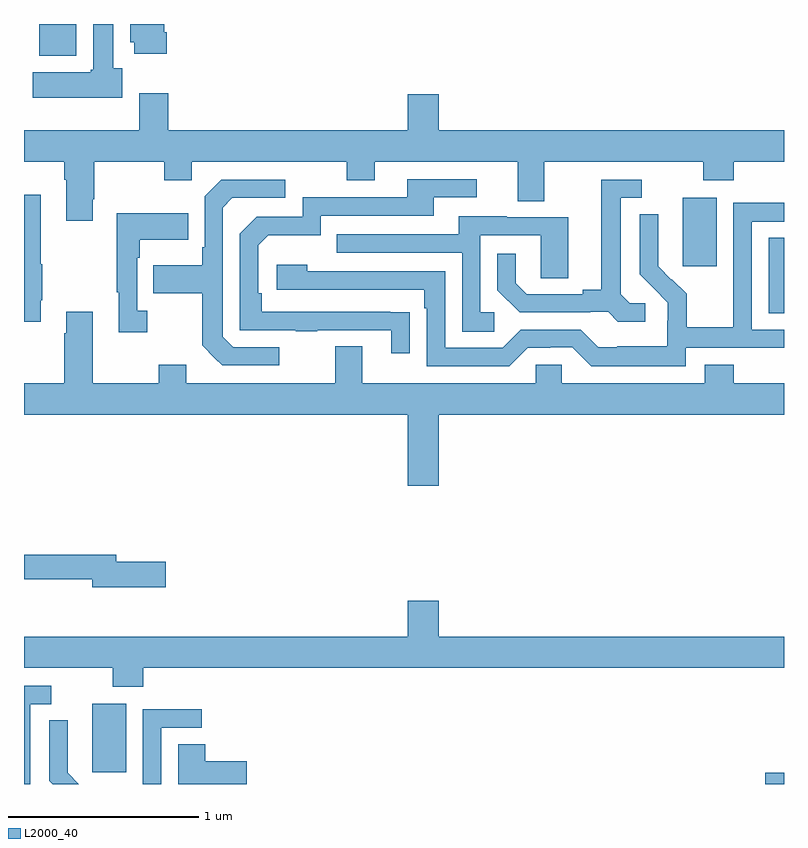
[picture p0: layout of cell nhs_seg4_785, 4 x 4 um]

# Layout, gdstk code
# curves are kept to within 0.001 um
import gdstk
lib = gdstk.Library(unit=1e-6, precision=1e-09)
def R(c, l, rs):  # rectangles x0, y0, x1, y1
    for r in rs: c.add(gdstk.rectangle(r[:2], r[2:], *l))
def P(c, l, *ps):  # polygons
    for p in ps: c.add(gdstk.Polygon(p, *l))
L2000_40 = (2000, 40)

nhs_seg4_785 = lib.new_cell('nhs_seg4_785')
R(nhs_seg4_785, L2000_40, [(154.902,770.9,155,770.96), (151.358,770.961,151.537,771.322), (154.919,773.377,155,773.774), (154.466,773.625,154.645,773.986), (151.079,774.734,151.276,774.9)])
P(nhs_seg4_785, L2000_40, [(151.751,774.856),(151.738,774.856),(151.738,774.9),(151.559,774.9),(151.559,774.804),(151.58,774.804),(151.58,774.744),(151.751,774.744)],
  [(151.516,774.666),(151.471,774.666),(151.471,774.9),(151.364,774.9),(151.364,774.66),(151.351,774.66),(151.351,774.646),(151.047,774.646),(151.047,774.512),(151.516,774.512)],
  [(151.363,773.977),(151.371,773.977),(151.371,774.176),(151.738,774.176),(151.738,774.077),(151.884,774.077),(151.884,774.176),(152.698,774.176),(152.698,774.077),(152.845,774.077),(152.845,774.176),(153.599,774.176),(153.599,773.968),(153.739,773.968),(153.739,774.176),(154.576,774.176),(154.576,774.077),(154.736,774.077),(154.736,774.176),(155,774.176),(155,774.34),(153.184,774.34),(153.184,774.529),(153.02,774.529),(153.02,774.34),(151.76,774.34),(151.76,774.535),(151.607,774.535),(151.607,774.34),(151,774.34),(151,774.176),(151.211,774.176),(151.211,774.08),(151.223,774.08),(151.223,773.865),(151.363,773.865)],
  [(153.029,773.384),(152.252,773.385),(152.252,773.482),(152.232,773.482),(152.232,773.736),(152.285,773.789),(152.562,773.789),(152.562,773.892),(153.157,773.892),(153.157,773.988),(153.382,773.988),(153.382,774.084),(153.017,774.084),(153.017,773.988),(152.466,773.988),(152.466,773.886),(152.226,773.886),(152.136,773.796),(152.136,773.289),(152.431,773.289),(152.431,773.284),(152.543,773.284),(152.543,773.289),(152.933,773.289),(152.933,773.166),(153.029,773.166)],
  [(152.344,773.199),(152.1,773.199),(152.046,773.253),(152.046,773.934),(152.097,773.985),(152.374,773.985),(152.374,774.081),(152.037,774.081),(151.95,773.994),(151.95,773.725),(151.938,773.725),(151.938,773.629),(151.681,773.629),(151.681,773.482),(151.938,773.482),(151.938,773.209),(152.043,773.103),(152.344,773.103)],
  [(154.27,773.43),(154.188,773.43),(154.141,773.477),(154.141,773.985),(154.252,773.985),(154.252,774.081),(154.037,774.081),(154.037,773.501),(153.941,773.501),(153.941,773.478),(153.646,773.478),(153.589,773.535),(153.589,773.692),(153.492,773.692),(153.492,773.498),(153.608,773.382),(153.98,773.382),(153.98,773.385),(154.074,773.385),(154.126,773.333),(154.27,773.333)],
  [(151.087,773.446),(151.095,773.446),(151.095,773.635),(151.087,773.635),(151.087,774.001),(151,774.001),(151,773.334),(151.087,773.334)],
  [(154.482,773.196),(155,773.196),(155,773.292),(154.83,773.292),(154.83,773.859),(155,773.859),(155,773.958),(154.734,773.958),(154.734,773.528),(154.732,773.528),(154.732,773.305),(154.487,773.305),(154.487,773.479),(154.41,773.556),(154.407,773.553),(154.337,773.624),(154.338,773.9),(154.242,773.9),(154.242,773.582),(154.388,773.434),(154.388,773.337),(154.386,773.337),(154.386,773.203),(154.123,773.203),(154.123,773.199),(154.023,773.199),(153.93,773.292),(153.615,773.292),(153.519,773.196),(153.216,773.196),(153.216,773.598),(152.492,773.598),(152.492,773.632),(152.331,773.632),(152.331,773.502),(153.107,773.502),(153.107,773.405),(153.12,773.405),(153.12,773.1),(153.555,773.1),(153.651,773.196),(153.77,773.196),(153.77,773.199),(153.885,773.199),(153.985,773.099),(154.482,773.099)],
  [(151.648,773.39),(151.596,773.39),(151.596,773.669),(151.609,773.669),(151.609,773.765),(151.865,773.765),(151.865,773.905),(151.488,773.905),(151.488,773.489),(151.499,773.489),(151.499,773.277),(151.648,773.277)],
  [(153.475,773.382),(153.402,773.382),(153.402,773.787),(153.72,773.787),(153.72,773.563),(153.865,773.563),(153.865,773.883),(153.541,773.883),(153.541,773.887),(153.287,773.887),(153.287,773.793),(152.647,773.793),(152.647,773.697),(153.306,773.697),(153.306,773.281),(153.475,773.281)],
  [(153.184,772.844),(155,772.844),(155,773.008),(154.736,773.008),(154.736,773.107),(154.583,773.107),(154.583,773.008),(153.831,773.008),(153.831,773.106),(153.693,773.106),(153.693,773.008),(152.779,773.008),(152.779,773.203),(152.639,773.203),(152.639,773.008),(151.855,773.008),(151.855,773.107),(151.708,773.107),(151.708,773.008),(151.363,773.008),(151.363,773.386),(151.223,773.386),(151.223,773.273),(151.211,773.273),(151.211,773.008),(151,773.008),(151,772.844),(153.02,772.844),(153.02,772.47),(153.184,772.47)],
  [(151.747,772.07),(151.486,772.07),(151.486,772.106),(151,772.106),(151,771.978),(151.358,771.978),(151.358,771.935),(151.747,771.935)],
  [(155,771.676),(153.184,771.676),(153.184,771.865),(153.02,771.865),(153.02,771.676),(151,771.676),(151,771.512),(151.468,771.512),(151.468,771.413),(151.628,771.413),(151.628,771.512),(155,771.512)],
  [(151.033,771.321),(151.144,771.321),(151.144,771.417),(151,771.417),(151,770.9),(151.033,770.9)],
  [(151.722,771.195),(151.936,771.195),(151.936,771.294),(151.626,771.294),(151.626,770.9),(151.722,770.9)],
  [(151.229,770.96),(151.229,771.082),(151.23,771.082),(151.23,771.236),(151.134,771.236),(151.134,770.918),(151.152,770.9),(151.288,770.9)],
  [(152.173,771.02),(151.955,771.02),(151.955,771.11),(151.811,771.11),(151.811,770.9),(152.173,770.9)])

lib.write_gds('nhs_seg4_785.gds')
